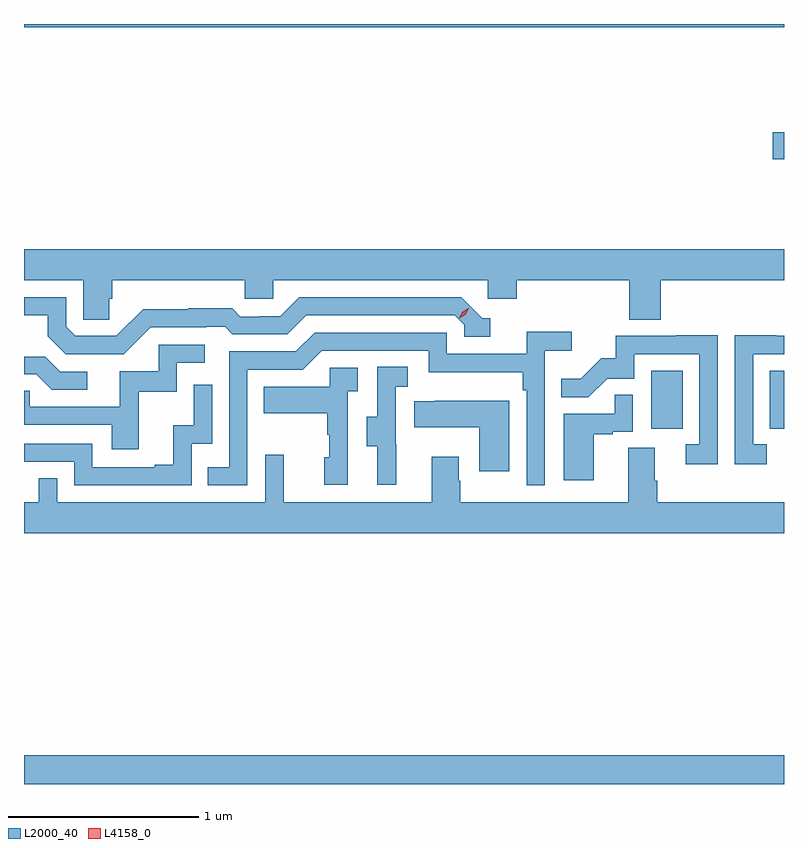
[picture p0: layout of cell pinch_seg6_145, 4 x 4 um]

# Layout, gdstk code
import gdstk
lib = gdstk.Library(unit=1e-6, precision=1e-09)
def R(c, l, rs):  # rectangles x0, y0, x1, y1
    for r in rs: c.add(gdstk.rectangle(r[:2], r[2:], *l))
def P(c, l, *ps):  # polygons
    for p in ps: c.add(gdstk.Polygon(p, *l))
L2000_40 = (2000, 40)
L4158_0 = (4158, 0)

pinch_seg6_145 = lib.new_cell('pinch_seg6_145')
R(pinch_seg6_145, L2000_40, [(982.35,916.713,986.35,916.864), (985.652,918.582,985.816,918.889), (986.276,918.582,986.35,918.889), (986.292,920.002,986.35,920.144), (982.35,920.696,986.35,920.713)])
P(pinch_seg6_145, L2000_40, [(982.799,919.266),(982.814,919.266),(982.814,919.364),(983.511,919.364),(983.511,919.266),(983.661,919.266),(983.661,919.364),(984.792,919.364),(984.792,919.266),(984.944,919.266),(984.944,919.364),(985.535,919.364),(985.535,919.156),(985.7,919.156),(985.7,919.364),(986.35,919.364),(986.35,919.528),(982.35,919.528),(982.35,919.364),(982.662,919.364),(982.662,919.156),(982.799,919.156)],
  [(983.016,919.116),(983.309,919.116),(983.309,919.119),(983.408,919.119),(983.447,919.08),(983.736,919.08),(983.835,919.179),(984.618,919.179),(984.666,919.131),(984.666,919.068),(984.805,919.068),(984.805,919.164),(984.762,919.164),(984.651,919.275),(983.798,919.275),(983.699,919.176),(983.592,919.176),(983.592,919.173),(983.489,919.173),(983.447,919.216),(983.214,919.216),(983.214,919.213),(982.978,919.213),(982.836,919.071),(982.62,919.071),(982.572,919.119),(982.572,919.275),(982.35,919.275),(982.35,919.179),(982.475,919.179),(982.475,919.069),(982.569,918.975),(982.875,918.975)],
  [(983.526,918.894),(983.817,918.894),(983.916,918.993),(984.48,918.993),(984.48,918.881),(984.976,918.881),(984.976,918.785),(984.996,918.785),(984.996,918.285),(985.092,918.285),(985.092,918.992),(985.234,918.992),(985.234,919.094),(984.995,919.094),(984.995,918.978),(984.576,918.978),(984.576,919.089),(983.879,919.089),(983.78,918.99),(983.43,918.99),(983.43,918.381),(983.317,918.381),(983.317,918.285),(983.526,918.285)],
  [(986.26,918.501),(986.187,918.501),(986.187,918.975),(986.35,918.975),(986.35,919.071),(986.309,919.071),(986.309,919.076),(986.091,919.076),(986.091,918.396),(986.26,918.396)],
  [(986.001,919.076),(985.783,919.076),(985.783,919.071),(985.465,919.071),(985.465,918.954),(985.388,918.954),(985.281,918.847),(985.177,918.847),(985.177,918.748),(985.321,918.748),(985.419,918.846),(985.563,918.846),(985.563,918.975),(985.905,918.975),(985.905,918.501),(985.833,918.501),(985.833,918.396),(986.001,918.396)],
  [(982.955,918.777),(983.154,918.777),(983.154,918.93),(983.302,918.93),(983.302,919.026),(983.058,919.026),(983.058,918.885),(982.853,918.885),(982.853,918.699),(982.379,918.699),(982.379,918.783),(982.35,918.783),(982.35,918.603),(982.811,918.603),(982.811,918.474),(982.955,918.474)],
  [(982.684,918.882),(982.542,918.882),(982.462,918.962),(982.35,918.962),(982.35,918.87),(982.415,918.87),(982.496,918.789),(982.684,918.789)],
  [(984.308,918.501),(984.306,918.501),(984.306,918.805),(984.37,918.805),(984.37,918.908),(984.21,918.908),(984.21,918.645),(984.155,918.645),(984.155,918.49),(984.209,918.49),(984.209,918.288),(984.308,918.288)],
  [(984.054,918.779),(984.106,918.779),(984.106,918.903),(983.958,918.903),(983.958,918.805),(983.611,918.805),(983.611,918.665),(983.946,918.665),(983.946,918.551),(983.956,918.551),(983.956,918.432),(983.93,918.432),(983.93,918.288),(984.054,918.288)],
  [(983.232,918.504),(983.34,918.504),(983.34,918.814),(983.244,918.814),(983.244,918.602),(983.135,918.602),(983.135,918.394),(983.039,918.394),(983.039,918.381),(982.71,918.381),(982.71,918.504),(982.35,918.504),(982.35,918.408),(982.614,918.408),(982.614,918.285),(983.232,918.285)],
  [(985.348,918.555),(985.448,918.555),(985.448,918.567),(985.554,918.567),(985.554,918.761),(985.459,918.761),(985.459,918.663),(985.19,918.663),(985.19,918.312),(985.348,918.312)],
  [(984.904,918.73),(984.511,918.73),(984.511,918.727),(984.403,918.727),(984.403,918.59),(984.746,918.59),(984.746,918.36),(984.904,918.36)],
  [(986.35,918.196),(985.682,918.196),(985.682,918.308),(985.669,918.308),(985.669,918.482),(985.529,918.482),(985.529,918.196),(984.645,918.196),(984.645,918.308),(984.637,918.308),(984.637,918.436),(984.497,918.436),(984.497,918.196),(983.717,918.196),(983.717,918.445),(983.619,918.445),(983.619,918.196),(982.524,918.196),(982.524,918.323),(982.428,918.323),(982.428,918.196),(982.35,918.196),(982.35,918.032),(986.35,918.032)])
P(pinch_seg6_145, L4158_0, [(984.642,919.165),(984.642,919.166),(984.658,919.198),(984.689,919.217),(984.69,919.217),(984.69,919.216),(984.673,919.184),(984.642,919.165)])

lib.write_gds('pinch_seg6_145.gds')
